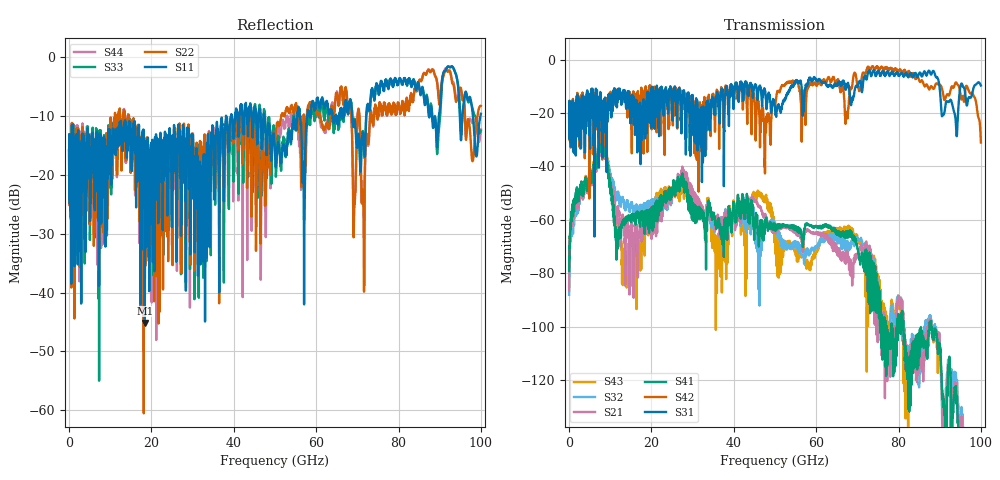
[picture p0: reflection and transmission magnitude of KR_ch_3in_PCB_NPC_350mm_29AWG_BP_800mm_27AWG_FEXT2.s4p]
! Created Thu Mar  2 13:16:39 2023
# ghz S ma R 45
! 4 Port Network Data from SP1.SP block
! freq  magS11  angS11  magS12  angS12  magS13  angS13  magS14  angS14
!  magS21  angS21  magS22  angS22  magS23  angS23  magS24  angS24
!  magS31  angS31  magS32  angS32  magS33  angS33  magS34  angS34
!  magS41  angS41  magS42  angS42  magS43  angS43  magS44  angS44
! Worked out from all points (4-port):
!   4000 points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, 25 MHz to 100 GHz, reference 45 ohm
!   strongest paths, dB at 25 MHz, 25.02 GHz, 50.02 GHz, 75.03 GHz, 100 GHz:
!     S31: -20.4, -15.9, -18.1, -4.4, -9.7
!     S42: -20.4, -15.5, -17.6, -3.1, -31.1
!     S41: -79.2, -48.7, -62.6, -89.9, -152.9
!     S21: -86.5, -49.7, -64.6, -92.1, -155.7
!     S32: -88.1, -51.7, -61.2, -87.3, -147.2
!     S43: -85.1, -48.5, -62.1, -83.4, -146.9
!   lowest |S11| = -45.2 dB at 18.4 GHz (marker M1), VSWR 1.01, Z = 44.5 - j0.0583 ohm
!   |S11| at or under -10 dB: start of sweep to 39.35 GHz; 47.37 GHz to 55.43 GHz (8.067 GHz wide, 15.7 % of centre); 68.77 GHz to 72.17 GHz (3.393 GHz wide, 4.82 % of centre)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
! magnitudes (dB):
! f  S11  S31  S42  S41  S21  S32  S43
! 25 MHz  -15.8  -20.4  -20.4  -79.2  -86.5  -88.1  -85.1
! 8 GHz  -19.0  -25.8  -25.2  -27.9  -29.6  -28.4  -26.7
! 13.3 GHz  -14.1  -13.3  -14.5  -60.0  -61.5  -53.4  -73.0
! 18.4 GHz  -45.2  -19.6  -12.8  -60.4  -63.2  -56.3  -68.8
! 27.65 GHz  -11.6  -11.7  -12.8  -47.4  -44.6  -45.1  -50.0
! 76.97 GHz  -3.9  -5.5  -2.8  -106.7  -120.3  -103.8  -99.0
! 100 GHz  -9.7  -9.7  -31.1  -152.9  -155.7  -147.2  -146.9
